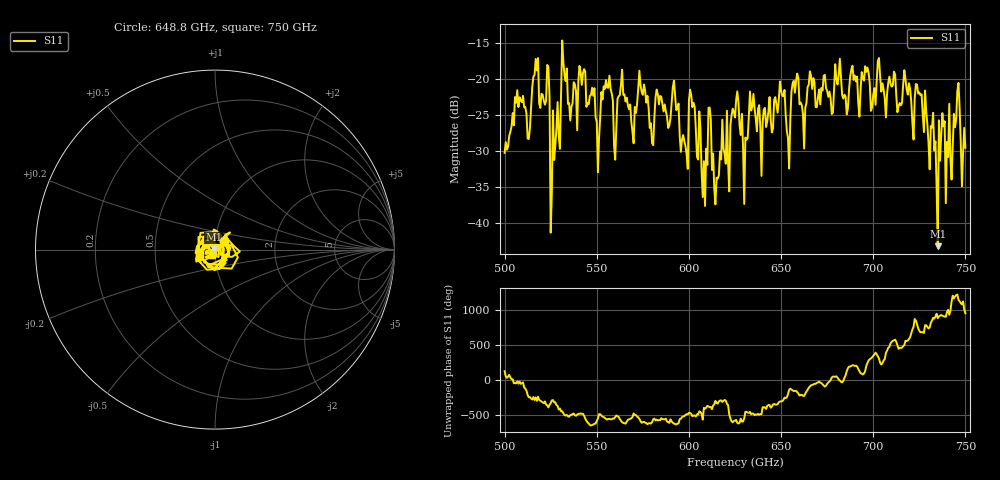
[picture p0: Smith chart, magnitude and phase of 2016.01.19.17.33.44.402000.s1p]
!Created with skrf (http://scikit-rf.org).
# GHz S RI R 50.0
!freq ReS11 ImS11
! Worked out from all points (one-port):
!   401 points, 500 GHz to 750 GHz, reference 50 ohm
!   lowest |S11| = -43.3 dB at 735 GHz (marker M1), VSWR 1.01, Z = 49.3 + j0.127 ohm
!   |S11| at or under -10 dB: start of sweep to end of sweep
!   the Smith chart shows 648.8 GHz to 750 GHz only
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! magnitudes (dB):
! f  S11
! 500 GHz  -30.3
! 506.9 GHz  -21.5
! 513.1 GHz  -28.3
! 516.9 GHz  -17.1
! 523.1 GHz  -18.0
! 526.2 GHz  -24.3
! 531.2 GHz  -14.6
! 542.5 GHz  -19.2
! 550.6 GHz  -33.0
! 553.8 GHz  -21.0
! 562.5 GHz  -22.2
! 593.8 GHz  -24.1
! 598.1 GHz  -29.3
! 601.9 GHz  -23.9
! 608.1 GHz  -31.4
! 611.9 GHz  -25.6
! 615 GHz  -33.7
! 625 GHz  -25.3
! 630.6 GHz  -28.1
! 634.4 GHz  -23.8
! 650.6 GHz  -22.3
! 653.8 GHz  -28.2
! 656.2 GHz  -20.6
! 687.5 GHz  -19.6
! 718.8 GHz  -22.1
! 735 GHz  -43.3
! 745.6 GHz  -21.7
! 750 GHz  -29.5
